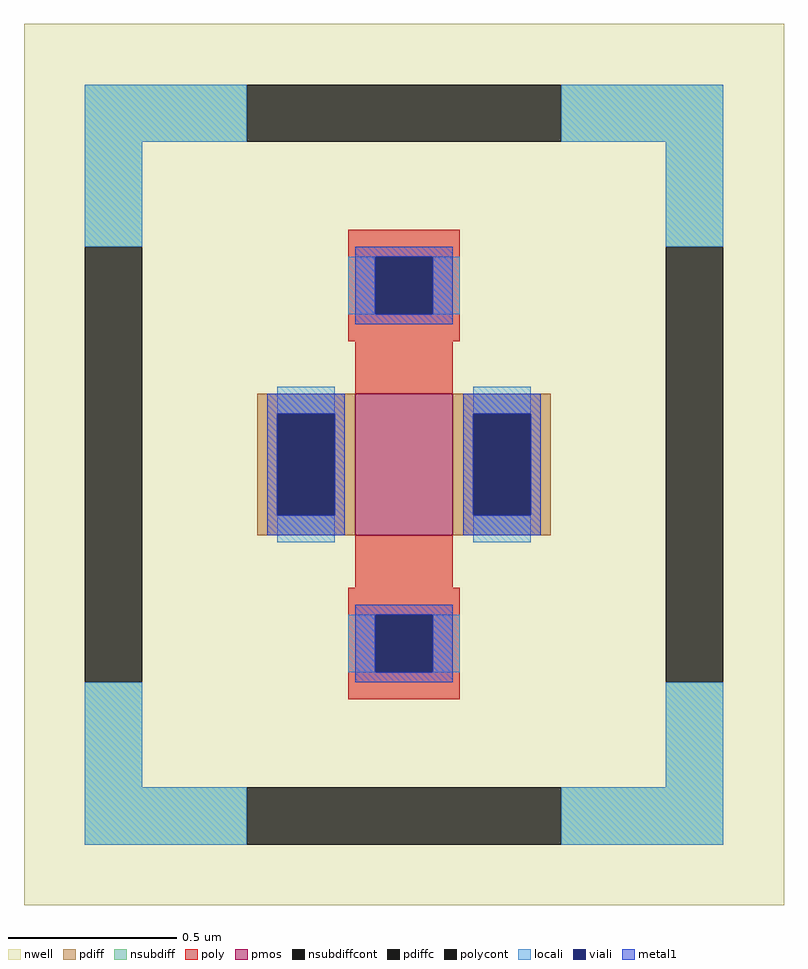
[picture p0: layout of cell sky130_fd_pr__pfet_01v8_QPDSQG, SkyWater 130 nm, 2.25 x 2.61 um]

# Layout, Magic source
magic
tech sky130A
magscale 1 2
<< nwell >>
rect -225 -261 225 261
<< pmos >>
rect -29 -42 29 42
<< pdiff >>
rect -87 30 -29 42
rect -87 -30 -75 30
rect -41 -30 -29 30
rect -87 -42 -29 -30
rect 29 30 87 42
rect 29 -30 41 30
rect 75 -30 87 30
rect 29 -42 87 -30
<< pdiffc >>
rect -75 -30 -41 30
rect 41 -30 75 30
<< nsubdiff >>
rect -189 191 -93 225
rect 93 191 189 225
rect -189 129 -155 191
rect 155 129 189 191
rect -189 -191 -155 -129
rect 155 -191 189 -129
rect -189 -225 -93 -191
rect 93 -225 189 -191
<< nsubdiffcont >>
rect -93 191 93 225
rect -189 -129 -155 129
rect 155 -129 189 129
rect -93 -225 93 -191
<< poly >>
rect -33 123 33 139
rect -33 89 -17 123
rect 17 89 33 123
rect -33 73 33 89
rect -29 42 29 73
rect -29 -73 29 -42
rect -33 -89 33 -73
rect -33 -123 -17 -89
rect 17 -123 33 -89
rect -33 -139 33 -123
<< polycont >>
rect -17 89 17 123
rect -17 -123 17 -89
<< locali >>
rect -189 191 -93 225
rect 93 191 189 225
rect -189 129 -155 191
rect 155 129 189 191
rect -33 89 -17 123
rect 17 89 33 123
rect -75 30 -41 46
rect -75 -46 -41 -30
rect 41 30 75 46
rect 41 -46 75 -30
rect -33 -123 -17 -89
rect 17 -123 33 -89
rect -189 -191 -155 -129
rect 155 -191 189 -129
rect -189 -225 -93 -191
rect 93 -225 189 -191
<< viali >>
rect -17 89 17 123
rect -75 -30 -41 30
rect 41 -30 75 30
rect -17 -123 17 -89
<< metal1 >>
rect -29 123 29 129
rect -29 89 -17 123
rect 17 89 29 123
rect -29 83 29 89
rect -81 30 -35 42
rect -81 -30 -75 30
rect -41 -30 -35 30
rect -81 -42 -35 -30
rect 35 30 81 42
rect 35 -30 41 30
rect 75 -30 81 30
rect 35 -42 81 -30
rect -29 -89 29 -83
rect -29 -123 -17 -89
rect 17 -123 29 -89
rect -29 -129 29 -123
<< properties >>
string FIXED_BBOX -172 -208 172 208
string gencell sky130_fd_pr__pfet_01v8
string library sky130
string parameters w 0.42 l 0.293 m 1 nf 1 diffcov 100 polycov 100 guard 1 glc 1 grc 1 gtc 1 gbc 1 tbcov 100 rlcov 100 topc 1 botc 1 poverlap 0 doverlap 1 lmin 0.15 wmin 0.42 compatible {sky130_fd_pr__pfet_01v8  sky130_fd_pr__pfet_01v8_lvt sky130_fd_pr__pfet_01v8_hvt  sky130_fd_pr__pfet_g5v0d10v5} full_metal 1 viasrc 100 viadrn 100 viagate 100 viagb 0 viagr 0 viagl 0 viagt 0
<< end >>
